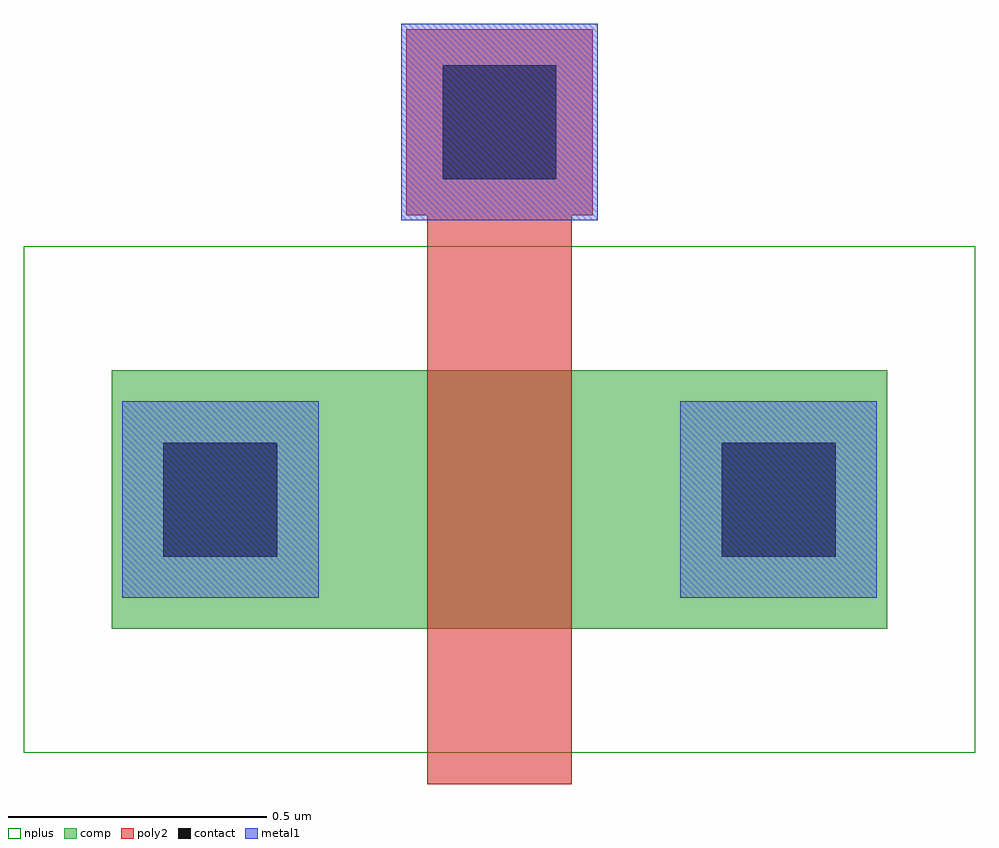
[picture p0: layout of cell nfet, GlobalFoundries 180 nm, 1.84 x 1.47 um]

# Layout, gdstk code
import gdstk
lib = gdstk.Library(unit=1e-6, precision=5e-09)
def R(c, l, rs):  # rectangles x0, y0, x1, y1
    for r in rs: c.add(gdstk.rectangle(r[:2], r[2:], *l))
def P(c, l, *ps):  # polygons
    for p in ps: c.add(gdstk.Polygon(p, *l))
comp = (22, 0)
poly2 = (30, 0)
nplus = (32, 0)
contact = (33, 0)
metal1 = (34, 0)

nfet = lib.new_cell('nfet')
R(nfet, comp, [(-0.42,0,1.08,0.5)])
P(nfet, poly2, [(0.19,-0.3),(0.19,0.8),(0.15,0.8),(0.15,1.16),(0.51,1.16),(0.51,0.8),(0.47,0.8),(0.47,-0.3)])
R(nfet, nplus, [(-0.59,-0.24,1.25,0.74)])
R(nfet, contact, [(-0.32,0.14,-0.1,0.36), (0.76,0.14,0.98,0.36), (0.22,0.87,0.44,1.09)])
R(nfet, metal1, [(-0.4,0.06,-0.02,0.44), (0.68,0.06,1.06,0.44), (0.14,0.79,0.52,1.17)])

lib.write_gds('nfet.gds')
